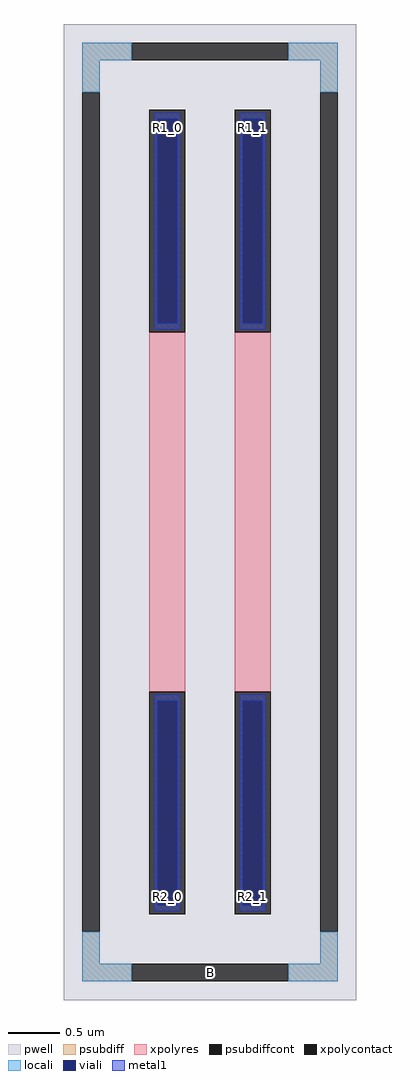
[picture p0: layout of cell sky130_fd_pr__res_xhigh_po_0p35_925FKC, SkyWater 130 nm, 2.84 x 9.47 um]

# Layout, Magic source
magic
tech sky130A
magscale 1 2
<< pwell >>
rect -284 -947 284 947
<< psubdiff >>
rect -248 877 -152 911
rect 152 877 248 911
rect -248 815 -214 877
rect 214 815 248 877
rect -248 -877 -214 -815
rect 214 -877 248 -815
rect -248 -911 -152 -877
rect 152 -911 248 -877
<< psubdiffcont >>
rect -152 877 152 911
rect -248 -815 -214 815
rect 214 -815 248 815
rect -152 -911 152 -877
<< xpolycontact >>
rect -118 349 -48 781
rect -118 -781 -48 -349
rect 48 349 118 781
rect 48 -781 118 -349
<< xpolyres >>
rect -118 -349 -48 349
rect 48 -349 118 349
<< locali >>
rect -248 877 -152 911
rect 152 877 248 911
rect -248 815 -214 877
rect 214 815 248 877
rect -248 -877 -214 -815
rect 214 -877 248 -815
rect -248 -911 -152 -877
rect 152 -911 248 -877
<< viali >>
rect -102 366 -64 763
rect 64 366 102 763
rect -102 -763 -64 -366
rect 64 -763 102 -366
<< metal1 >>
rect -108 763 -58 775
rect -108 366 -102 763
rect -64 366 -58 763
rect -108 354 -58 366
rect 58 763 108 775
rect 58 366 64 763
rect 102 366 108 763
rect 58 354 108 366
rect -108 -366 -58 -354
rect -108 -763 -102 -366
rect -64 -763 -58 -366
rect -108 -775 -58 -763
rect 58 -366 108 -354
rect 58 -763 64 -366
rect 102 -763 108 -366
rect 58 -775 108 -763
<< labels >>
rlabel psubdiffcont 0 -894 0 -894 0 B
port 1 nsew
rlabel xpolycontact -83 746 -83 746 0 R1_0
port 2 nsew
rlabel xpolycontact -83 -746 -83 -746 0 R2_0
port 3 nsew
rlabel xpolycontact 83 746 83 746 0 R1_1
port 4 nsew
rlabel xpolycontact 83 -746 83 -746 0 R2_1
port 5 nsew
<< properties >>
string FIXED_BBOX -231 -894 231 894
string gencell sky130_fd_pr__res_xhigh_po_0p35
string library sky130
string parameters w 0.35 l 3.65 m 1 nx 2 wmin 0.350 lmin 0.50 class resistor rho 2000 val 21.932k dummy 0 dw 0.0 term 188.2 sterm 0.0 caplen 0 wmax 0.350 guard 1 glc 1 grc 1 gtc 1 gbc 1 compatible {sky130_fd_pr__res_xhigh_po_0p35  sky130_fd_pr__res_xhigh_po_0p69 sky130_fd_pr__res_xhigh_po_1p41  sky130_fd_pr__res_xhigh_po_2p85 sky130_fd_pr__res_xhigh_po_5p73} snake 0 full_metal 1 n_guard 0 hv_guard 0 vias 1 viagb 0 viagt 0 viagl 0 viagr 0 doports 1
<< end >>
